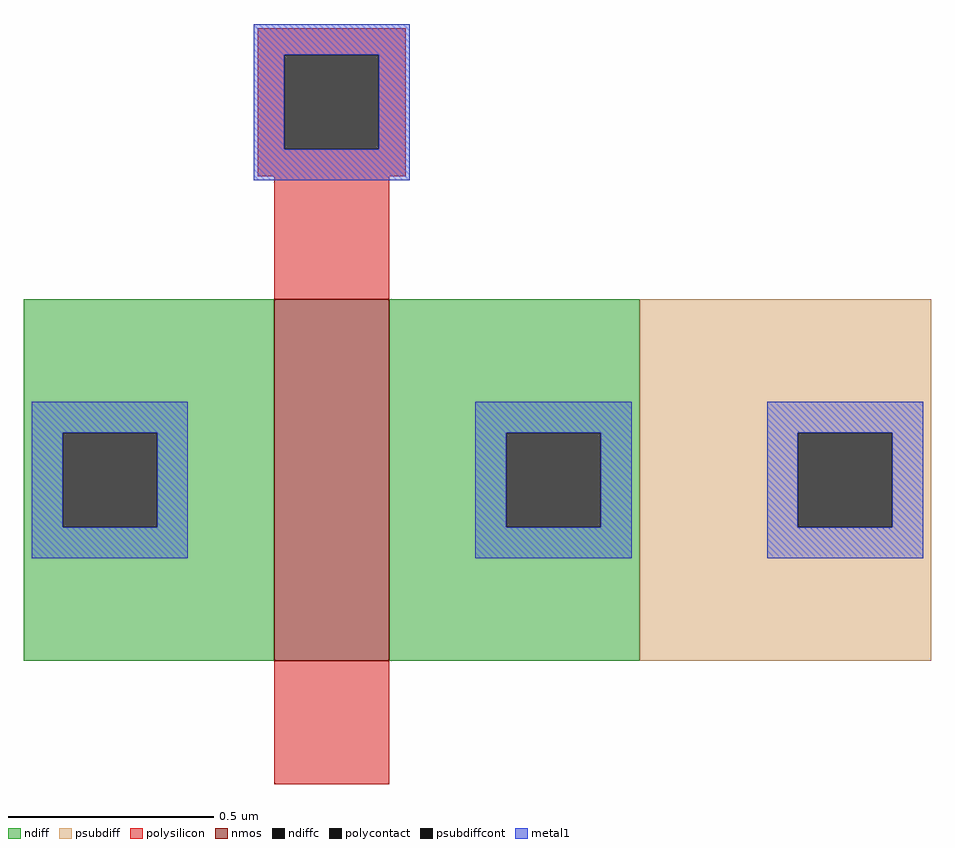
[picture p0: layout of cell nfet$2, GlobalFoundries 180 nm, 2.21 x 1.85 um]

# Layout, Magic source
magic
tech gf180mcuD
magscale 1 10
<< nmos >>
rect 38 0 94 176
<< ndiff >>
rect -84 111 38 176
rect -84 65 -65 111
rect -19 65 38 111
rect -84 0 38 65
rect 94 111 216 176
rect 94 65 151 111
rect 197 65 216 111
rect 94 0 216 65
<< ndiffc >>
rect -65 65 -19 111
rect 151 65 197 111
<< psubdiff >>
rect 216 111 358 176
rect 216 65 293 111
rect 339 65 358 111
rect 216 0 358 65
<< psubdiffcont >>
rect 293 65 339 111
<< polysilicon >>
rect 30 295 102 308
rect 30 249 43 295
rect 89 249 102 295
rect 30 236 102 249
rect 38 176 94 236
rect 38 -60 94 0
<< polycontact >>
rect 43 249 89 295
<< metal1 >>
rect 28 295 104 310
rect 28 249 43 295
rect 89 249 104 295
rect 28 234 104 249
rect -80 111 -4 126
rect -80 65 -65 111
rect -19 65 -4 111
rect -80 50 -4 65
rect 136 111 212 126
rect 136 65 151 111
rect 197 65 212 111
rect 136 50 212 65
rect 278 111 354 126
rect 278 65 293 111
rect 339 65 354 111
rect 278 50 354 65
<< end >>
